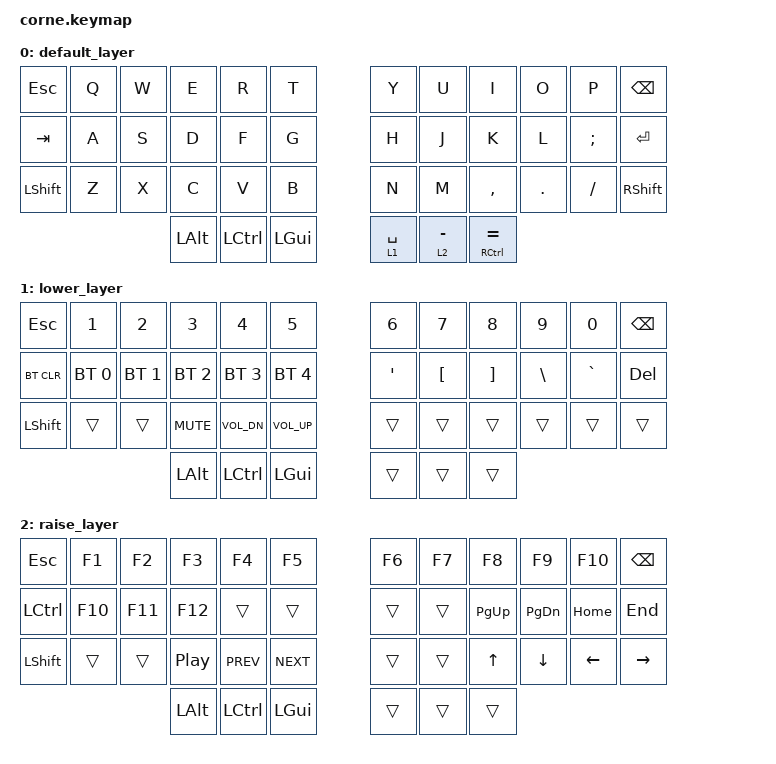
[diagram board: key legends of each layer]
/*
 * Copyright (c) 2020 The ZMK Contributors
 *
 * SPDX-License-Identifier: MIT
 */

#include <behaviors.dtsi>
#include <dt-bindings/zmk/keys.h>
#include <dt-bindings/zmk/bt.h>

/ {
        keymap {
                compatible = "zmk,keymap";

                default_layer {
                        bindings = <
   &kp ESC   &kp Q &kp W &kp E &kp R &kp T   &kp Y &kp U  &kp I     &kp O   &kp P    &kp BSPC
   &kp TAB &kp A &kp S &kp D &kp F &kp G   &kp H &kp J  &kp K &kp L &kp SEMI &kp RET
   &kp LSHFT &kp Z &kp X &kp C &kp V &kp B   &kp N &kp M  &kp COMMA &kp DOT &kp FSLH &kp RSHFT
                  &kp LALT &kp LCTRL &kp LGUI   &lt 1 SPACE &lt 2 MINUS &mt RCTRL EQUAL
                        >;
                };
                lower_layer {
                        bindings = <
   &kp ESC    &kp N1       &kp N2       &kp N3       &kp N4       &kp N5          &kp N6   &kp N7   &kp N8 &kp N9    &kp N0 &kp BSPC
   &bt BT_CLR &bt BT_SEL 0 &bt BT_SEL 1 &bt BT_SEL 2 &bt BT_SEL 3 &bt BT_SEL 4    &kp SQT &kp LBKT &kp RBKT &kp BSLH &kp GRAVE &kp DEL
   &kp LSHFT &trans &trans &kp C_MUTE &kp C_VOL_DN &kp C_VOL_UP           &trans &trans &trans &trans &trans &trans
                                        &kp LALT &kp LCTRL &kp LGUI  &trans &trans &trans
                        >;
                };

                raise_layer {
                        bindings = <
   &kp  ESC  &kp F1  &kp F2  &kp F3  &kp F4  &kp F5   &kp F6 &kp F7  &kp F8 &kp F9 &kp F10 &kp BSPC
   &kp LCTRL &kp F10 &kp F11 &kp F12 &trans  &trans   &trans &trans &kp PG_UP &kp PG_DN &kp HOME &kp END
   &kp LSHFT &trans  &trans &kp C_PP &kp C_PREV  &kp C_NEXT    &trans &trans &kp UP &kp DOWN &kp LEFT &kp RIGHT
                                   &kp LALT &kp LCTRL &kp LGUI   &trans &trans &trans
                        >;
                };
        };
};
